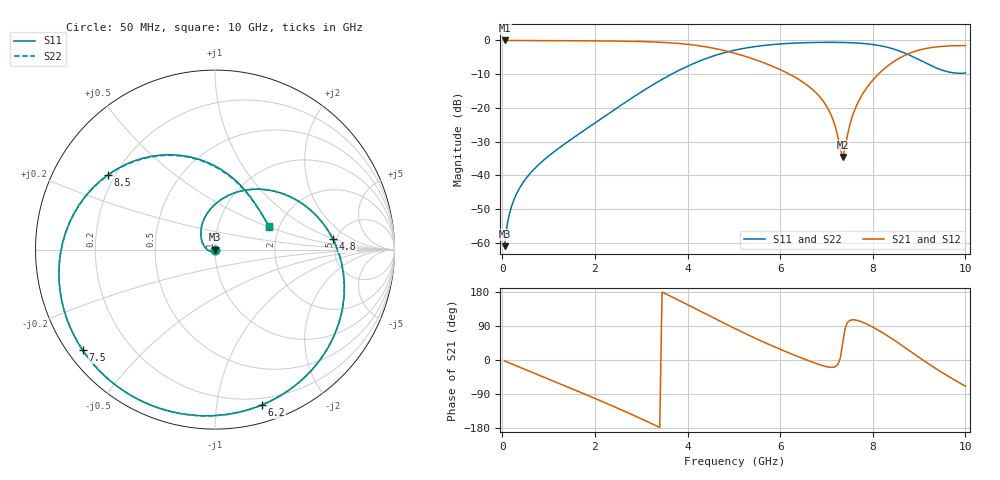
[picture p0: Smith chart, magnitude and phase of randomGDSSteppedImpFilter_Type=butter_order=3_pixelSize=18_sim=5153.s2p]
! freq	dB(S11)	phase(S11)	dB(S12)	phase(S12)
!  dB(S21)	phase(S21)	dB(S22)	phase(S22)
!S-par simulation data
#  GHz  S  DB  R 50
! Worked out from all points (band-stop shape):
!   200 points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, 50 MHz to 10 GHz, reference 50 ohm
!   highest |S21| = -0.01 dB at 50 MHz (marker M1); lowest = -34.6 dB at 7.35 GHz (marker M2)
!   |S21| within 3 dB of the highest: start of sweep to 4.793 GHz; 8.965 GHz to end of sweep
!   lowest |S11| = -61.1 dB at 50 MHz (marker M3), VSWR 1.00, Z = 50 - j0.0885 ohm
!   |S11| at or under -10 dB: start of sweep to 3.657 GHz
!   |S22| runs from -61.1 to -0.6 dB; largest |S21 - S12| = 0
!   S11 on the Smith chart (normalised r, x): 50 MHz: 1.00, -0.00; 4.8 GHz: 4.64, +0.99; 6.2 GHz: 0.14, -1.34; 7.5 GHz: 0.04, -0.34; 8.5 GHz: 0.17, +0.31; 10 GHz: 1.78, +0.50
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0.05  -61.05 -88.4  -0.01 -2.6  -0.01 -2.6  -61.06 -88.4
0.2  -49.22 -100.8  -0.03 -10.1  -0.03 -10.1  -49.22 -100.7
0.45  -42.14 -114.2  -0.04 -22.6  -0.04 -22.6  -42.14 -114.1
1.15  -32.69 -150.8  -0.07 -57.8  -0.07 -57.8  -32.69 -150.6
1.75  -26.85 177.9  -0.11 -88.3  -0.11 -88.3  -26.85 178.1
2.5  -19.82 139.3  -0.20 -127.7  -0.20 -127.7  -19.82 139.4
3.4  -11.96 89.8  -0.53 -178.0  -0.53 -178.0  -11.96 89.9
4.15  -6.74 45.2  -1.40 136.8  -1.40 136.8  -6.74 45.3
4.8  -3.62 5.3  -3.03 96.5  -3.03 96.5  -3.62 5.3
5.05  -2.80 -9.8  -3.92 81.3  -3.92 81.3  -2.80 -9.8
5.6  -1.57 -41.3  -6.39 49.7  -6.39 49.7  -1.57 -41.3
6.2  -0.88 -73.3  -10.00 18.2  -10.00 18.2  -0.87 -73.2
6.7  -0.61 -99.0  -14.58 -5.8  -14.58 -5.8  -0.61 -98.9
7.1  -0.56 -120.0  -22.10 -19.4  -22.10 -19.4  -0.56 -119.9
7.35  -0.60 -133.9  -34.56 43.9  -34.56 43.9  -0.60 -133.7
7.5  -0.67 -142.7  -25.29 104.1  -25.29 104.1  -0.66 -142.5
7.8  -0.91 -161.7  -15.48 98.5  -15.48 98.5  -0.91 -161.3
8.35  -2.15 157.4  -7.29 61.3  -7.29 61.3  -2.15 158.0
8.5  -2.77 144.9  -5.87 49.2  -5.87 49.2  -2.76 145.5
8.8  -4.41 118.8  -3.78 23.8  -3.78 23.8  -4.40 119.6
9.2  -7.10 84.1  -2.26 -9.8  -2.26 -9.8  -7.09 85.2
10  -9.70 22.5  -1.54 -69.1  -1.54 -69.1  -9.71 23.6
